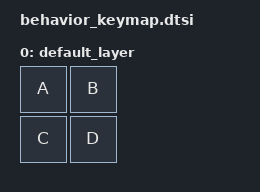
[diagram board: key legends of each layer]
#include <dt-bindings/zmk/keys.h>
#include <behaviors.dtsi>
#include <dt-bindings/zmk/kscan_mock.h>

/* Force RC back to the 2-arg row/col variant for matrix transforms */
#undef RC
#include <dt-bindings/zmk/matrix_transform.h>

/ {
    chosen {
        zmk,kscan = &kscan0;
        zmk,matrix_transform = &default_transform;
    };

    default_transform: keymap_transform_0 {
        compatible = "zmk,matrix-transform";
        columns = <2>;
        rows = <2>;
        map = <
            RC(0,0) RC(0,1)
            RC(1,0) RC(1,1)
        >;
    };

    kscan0: kscan {
        compatible = "zmk,kscan-mock";
        label = "KSCAN_MOCK";
        rows = <2>;
        columns = <2>;
        exit-after;
        events = <>;
    };

    keymap {
        compatible = "zmk,keymap";

        default_layer {
            bindings = <
                &kp A &kp B
                &kp C &kp D
            >;
        }
    };
};

